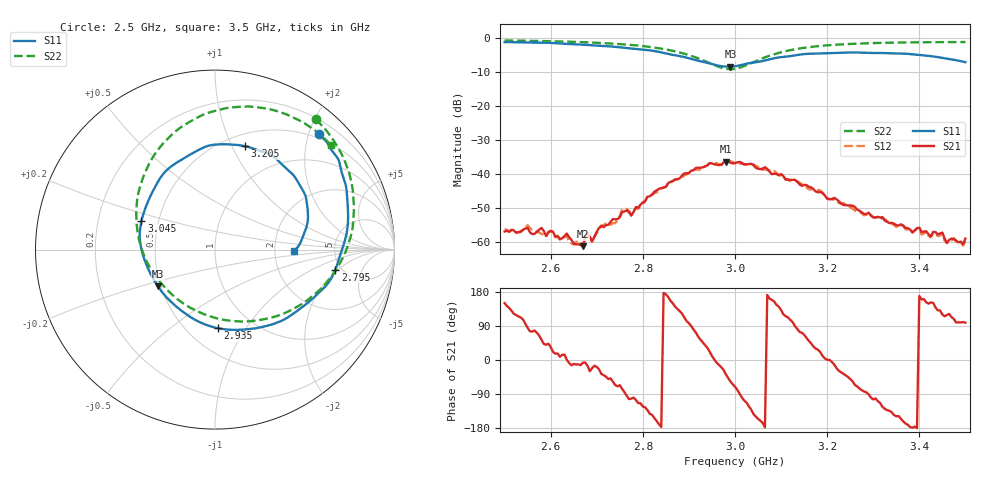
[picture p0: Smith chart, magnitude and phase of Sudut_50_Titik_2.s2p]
# Hz S RI R 50
! CMT, C1220, 16058040, 17.2.0/1
! Date: 15/08/2018 10:48:20
! Data: Format (Calibration Info)
! Freq  S11: Re/Im (F2)  S21: Re/Im (F2)  S12: Re/Im (F2)  S22: Re/Im (F2)
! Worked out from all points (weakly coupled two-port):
!   201 points, 2.5 GHz to 3.5 GHz, reference 50 ohm
!   highest |S21| = -36.42 dB at 2.98 GHz (marker M1); lowest = -61.3 dB at 2.67 GHz (marker M2)
!   lowest |S11| = -8.5 dB at 2.99 GHz (marker M3), VSWR 2.21, Z = 24.1 - j11.4 ohm
!   |S11| at or under -10 dB: nowhere
!   |S22| runs from -9.2 to -0.7 dB; largest |S21 - S12| = 0.0011
!   S11 on the Smith chart (normalised r, x): 2.5 GHz: 0.41, +2.18; 2.795 GHz: 4.46, -1.84; 2.935 GHz: 0.69, -0.75; 3.045 GHz: 0.40, +0.16; 3.205 GHz: 0.62, +1.12; 3.5 GHz: 2.57, -0.06
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2.5e9  0.5813 0.6462  -0.00123 0.000703  -0.00132 0.000731  0.5632 0.7253
2.55e9  0.6372 0.5727  0.000143 0.00159  1.57e-06 0.00175  0.6193 0.6645
2.58e9  0.6794 0.515  0.000949 0.00129  0.000824 0.00102  0.6519 0.6216
2.67e9  0.7353 0.307  0.000856 -0.000101  0.00091 -0.000147  0.7381 0.454
2.68e9  0.7374 0.277  0.00128 -0.00035  0.00119 -0.000306  0.7464 0.4315
2.69e9  0.7396 0.2427  0.000946 -0.000368  0.000883 -0.000408  0.7523 0.408
2.755e9  0.7204 0.0396  0.000654 -0.00266  0.000891 -0.00281  0.7742 0.2288
2.775e9  0.6984 -0.0277  -0.000506 -0.00237  -0.000657 -0.00242  0.7709 0.1626
2.795e9  0.6709 -0.1109  -0.00145 -0.00321  -0.00141 -0.00303  0.7609 0.0918
2.835e9  0.5726 -0.2471  -0.00591 -0.00109  -0.00564 -0.00127  0.702 -0.0651
2.935e9  0.0147 -0.438  0.00994 0.00818  0.00959 0.0086  0.2254 -0.3956
2.98e9  -0.2716 -0.2644  0.012 -0.00915  0.0119 -0.00853  -0.1395 -0.323
2.99e9  -0.3184 -0.2034  0.00805 -0.0121  0.00864 -0.0126  -0.2127 -0.274
3e9  -0.3571 -0.1394  0.00474 -0.0135  0.00401 -0.0138  -0.2781 -0.2124
3.045e9  -0.4099 0.1583  -0.0106 -0.00627  -0.0111 -0.00681  -0.4356 0.1326
3.095e9  -0.2714 0.4402  -0.00741 0.00606  -0.00685 0.00657  -0.3672 0.4777
3.17e9  0.0338 0.5865  0.00485 0.00349  0.00462 0.0039  -0.0899 0.74
3.205e9  0.1658 0.5762  0.00424 1.29e-05  0.00422 -0.000305  0.0374 0.7824
3.335e9  0.4649 0.372  -0.00131 -0.00136  -0.00134 -0.00124  0.3918 0.7559
3.45e9  0.499 0.096  -0.000683 0.00118  -0.000667 0.00116  0.5847 0.6415
3.46e9  0.4893 0.0712  -0.000465 0.000842  -0.000454 0.000847  0.5975 0.6317
3.5e9  0.4397 -0.00889  -0.000163 0.0011  -4.35e-05 0.00102  0.6444 0.5843
